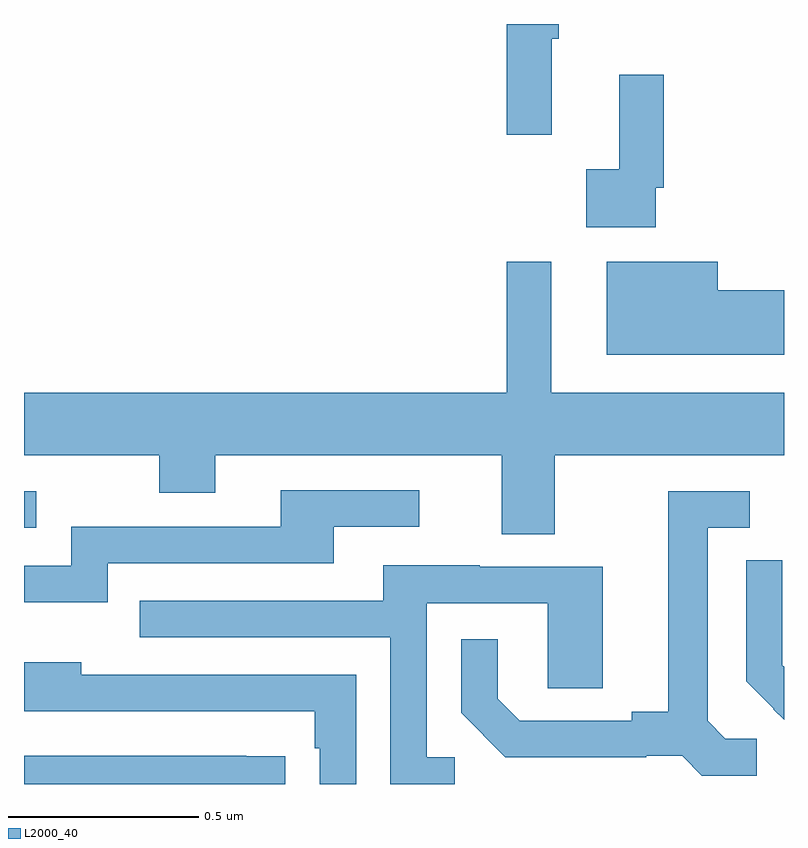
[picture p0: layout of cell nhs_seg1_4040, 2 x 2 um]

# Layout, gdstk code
import gdstk
lib = gdstk.Library(unit=1e-6, precision=1e-09)
def R(c, l, rs):  # rectangles x0, y0, x1, y1
    for r in rs: c.add(gdstk.rectangle(r[:2], r[2:], *l))
def P(c, l, *ps):  # polygons
    for p in ps: c.add(gdstk.Polygon(p, *l))
L2000_40 = (2000, 40)

nhs_seg1_4040 = lib.new_cell('nhs_seg1_4040')
R(nhs_seg1_4040, L2000_40, [(161,552.873,161.032,552.969)])
P(nhs_seg1_4040, L2000_40, [(162.389,554.16),(162.407,554.16),(162.407,554.199),(162.271,554.199),(162.271,553.908),(162.389,553.908)],
  [(162.663,553.768),(162.683,553.768),(162.683,554.065),(162.566,554.065),(162.566,553.817),(162.48,553.817),(162.48,553.664),(162.663,553.664)],
  [(162.397,553.064),(163,553.064),(163,553.228),(162.388,553.228),(162.388,553.573),(162.271,553.573),(162.271,553.228),(161,553.228),(161,553.064),(161.356,553.064),(161.356,552.965),(161.503,552.965),(161.503,553.064),(162.257,553.064),(162.257,552.856),(162.397,552.856)],
  [(163,553.499),(162.826,553.499),(162.826,553.573),(162.533,553.573),(162.533,553.328),(163,553.328)],
  [(161.22,552.78),(161.815,552.78),(161.815,552.876),(162.04,552.876),(162.04,552.972),(161.675,552.972),(161.675,552.876),(161.124,552.876),(161.124,552.774),(161,552.774),(161,552.677),(161.22,552.677)],
  [(162.928,552.318),(162.846,552.318),(162.799,552.365),(162.799,552.873),(162.91,552.873),(162.91,552.969),(162.695,552.969),(162.695,552.389),(162.599,552.389),(162.599,552.366),(162.304,552.366),(162.247,552.423),(162.247,552.58),(162.15,552.58),(162.15,552.386),(162.266,552.27),(162.638,552.27),(162.638,552.273),(162.732,552.273),(162.784,552.221),(162.928,552.221)],
  [(163,552.507),(162.995,552.512),(162.995,552.634),(162.996,552.634),(162.996,552.788),(162.9,552.788),(162.9,552.47),(162.973,552.397),(162.972,552.396),(163,552.368)],
  [(162.133,552.27),(162.06,552.27),(162.06,552.675),(162.378,552.675),(162.378,552.451),(162.523,552.451),(162.523,552.771),(162.199,552.771),(162.199,552.775),(161.945,552.775),(161.945,552.681),(161.305,552.681),(161.305,552.585),(161.964,552.585),(161.964,552.199),(162.133,552.199)],
  [(161.874,552.486),(161.15,552.486),(161.15,552.52),(161,552.52),(161,552.39),(161.765,552.39),(161.765,552.293),(161.778,552.293),(161.778,552.199),(161.874,552.199)],
  [(161.687,552.272),(161.585,552.272),(161.585,552.273),(161,552.273),(161,552.199),(161.687,552.199)])

lib.write_gds('nhs_seg1_4040.gds')
